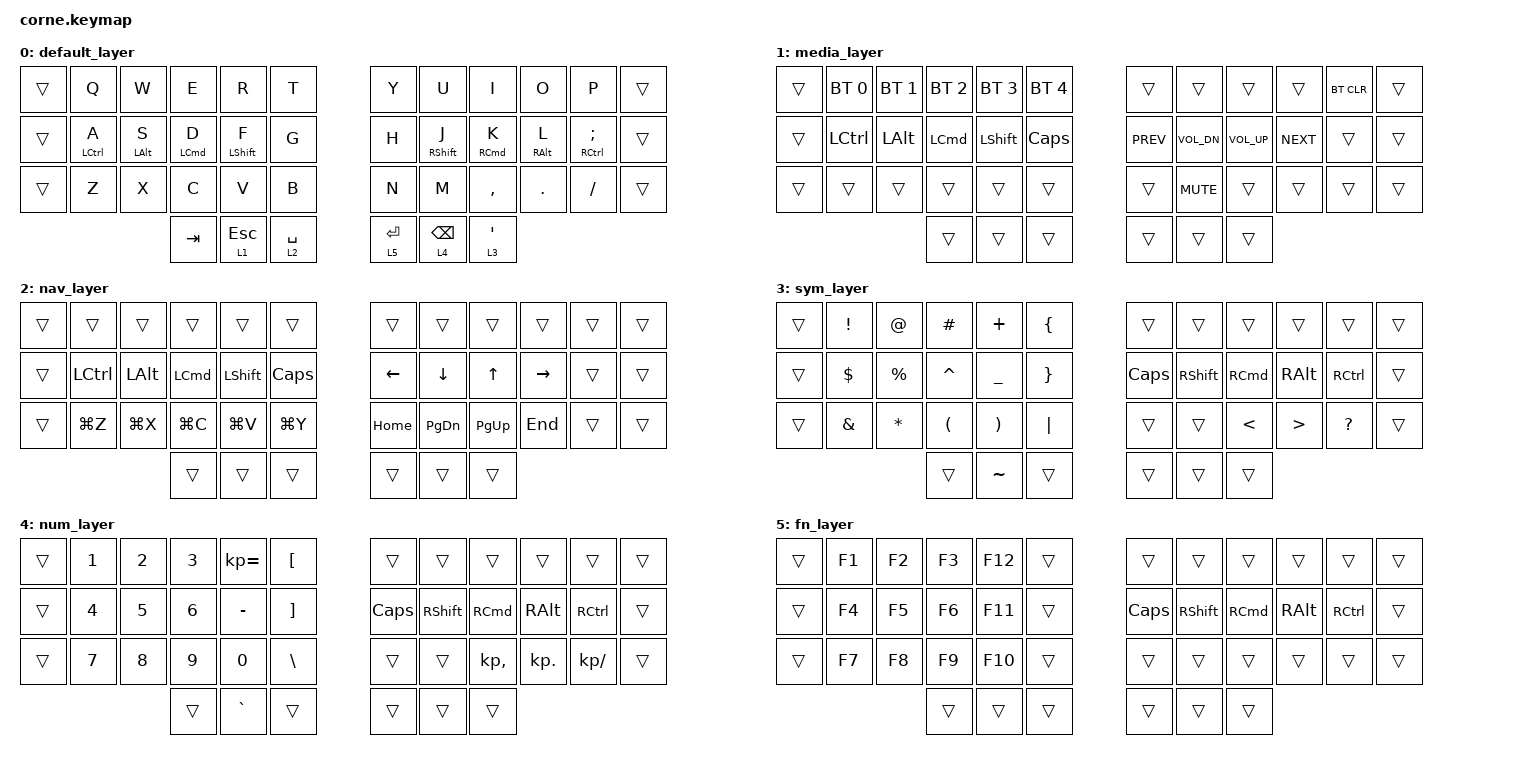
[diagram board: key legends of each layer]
/*
 * Copyright (c) 2020 The ZMK Contributors
 *
 * SPDX-License-Identifier: MIT
 */

#include <behaviors.dtsi>
#include <dt-bindings/zmk/keys.h>
#include <dt-bindings/zmk/bt.h>

#define DEFAULT 0
#define MEDIA 1
#define NAV 2
#define SYM 3
#define NUM 4
#define FN 5

&mt {
        tapping-term-ms = <250>;
};

/ {
        keymap {
                compatible = "zmk,keymap";
                default_layer {
// ---------------------------------------------------------------------------------------------------------------------
//  |  Q  |  W  |  E  |  R  |  T  |   |  Y  |  U  |  I  |  O  |  P  |
//  |  A  |  S  |  D  |  F  |  G  |   |  H  |  J  |  K  |  L  |  ;  |
//  |  Z  |  X  |  C  |  V  |  B  |   |  N  |  M  |  ,  |  .  |  /  |
//              | TAB | ESC |SPACE|   |ENTER| DEL |  '  |
//              |     |MEDIA| NAV |   | Fn  | NUM | SYM |
                        bindings = <
&trans  &kp Q        &kp W       &kp E       &kp R         &kp T        &kp Y         &kp U         &kp I       &kp O       &kp P                &trans
&trans  &mt LCTRL A  &mt LALT S  &mt LCMD D  &mt LSHIFT F  &kp G        &kp H         &mt RSHIFT J  &mt RCMD K  &mt RALT L  &mt RCTRL SEMICOLON  &trans
&trans  &kp Z        &kp X       &kp C       &kp V         &kp B        &kp N         &kp M         &kp COMMA   &kp DOT     &kp FSLH             &trans
                                 &kp TAB     &lt 1 ESC     &lt 2 SPACE  &lt 5 RETURN  &lt 4 BSPC    &lt 3 SQT
                        >;
                };

                media_layer {
// ---------------------------------------------------------------------------------------------------------------------
// |BT 0 |BT 1  |BT 2 |BT 3 |BT 4 |   |     |     |     |     |BTCLR|
// |CTRL^|OPTION| CMD |SHIFT|CAPSL|   | PREV|VDOWN|VOLUP| NEXT|     |
// |     |      |     |     |     |   |     | MUTE|     |     |     |
//              |     |     |     |   |     |     |     |

                        bindings = <
&trans  &bt BT_SEL 0 &bt BT_SEL 1 &bt BT_SEL 2 &bt BT_SEL 3 &bt BT_SEL 4  &trans      &trans        &trans        &trans      &bt BT_CLR  &trans
&trans  &kp LCTRL    &kp LALT     &kp LCMD     &kp LSHIFT   &kp CAPS      &kp C_PREV  &kp C_VOL_DN  &kp C_VOL_UP  &kp C_NEXT  &trans      &trans
&trans  &trans       &trans       &trans       &trans       &trans        &trans      &kp C_MUTE    &trans        &trans      &trans      &trans
                                  &trans       &trans       &trans        &trans      &trans        &trans
                        >;
                };

                nav_layer {
// ---------------------------------------------------------------------------------------------------------------------
// |      |      |     |     |     |   |     |     |     |     |     |
// |CTRL^ |OPTION| CMD |SHIFT|CAPSL|   | LEFT| DOWN|   UP|RIGHT|     |
// |  UNDO|   CUT| COPY|PASTE| REDO|   | HOME|PGDWN| PGUP|  END|     |
//               | NAV |     |     |   |     |     |     |
                        bindings = <
&trans  &trans     &trans     &trans     &trans      &trans        &trans    &trans     &trans     &trans     &trans  &trans
&trans  &kp LCTRL  &kp LALT   &kp LCMD   &kp LSHIFT  &kp CAPS      &kp LEFT  &kp DOWN   &kp UP     &kp RIGHT  &trans  &trans
&trans  &kp LG(Z)  &kp LG(X)  &kp LG(C)  &kp LG(V)   &kp LG(Y)     &kp HOME  &kp PG_DN  &kp PG_UP  &kp END    &trans  &trans
                              &trans     &trans      &trans        &trans    &trans     &trans
                        >;
                };

                sym_layer {
// ---------------------------------------------------------------------------------------------------------------------
// |  !  |  @  |  #  |  +  |  {  |   |     |     |     |     |     |
// |  $  |  %  |  ^  |  _  |  }  |   | CAPS|SHIFT| CMD | OPT |CTRL^|
// |  &  |  *  |  (  |  )  |  |  |   |     |     |  <  |  >  |  ?  |
//             |     |  ~  |     |   |     |     |     |

                        bindings = <
&trans  &kp EXCL    &kp AT_SIGN  &kp POUND  &kp PLUS   &kp LBRC   &trans    &trans     &trans     &trans    &trans     &trans
&trans  &kp DOLLAR  &kp PERCENT  &kp CARET  &kp UNDER  &kp RBRC   &kp CAPS  &kp RSHIFT &kp RCMD   &kp RALT  &kp RCTRL  &trans
&trans  &kp AMPS    &kp ASTRK    &kp LPAR   &kp RPAR   &kp PIPE   &trans    &trans     &kp LT     &kp GT    &kp QMARK  &trans
                                 &trans     &kp TILDE  &trans     &trans    &trans     &trans
                        >;
                };

                num_layer {
// ---------------------------------------------------------------------------------------------------------------------
// |  1  |  2  |  3  |  =  |  [  |   |     |     |     |     |     |
// |  4  |  5  |  6  |  -  |  ]  |   | CAPS|SHIFT| CMD | OPT |CTRL^|
// |  7  |  8  |  9  |  0  |  \  |   |     |     |  ,  |  .  |  /  |
//             |     |  `  |     |   |     |     |     |

                        bindings = <
&trans  &kp N1  &kp N2  &kp N3  &kp KP_EQUAL &kp LBKT     &trans    &trans     &trans       &trans     &trans       &trans
&trans  &kp N4  &kp N5  &kp N6  &kp MINUS    &kp RBKT     &kp CAPS  &kp RSHIFT &kp RCMD     &kp RALT   &kp RCTRL    &trans
&trans  &kp N7  &kp N8  &kp N9  &kp N0       &kp BSLH     &trans    &trans     &kp KP_COMMA &kp KP_DOT &kp KP_SLASH &trans
                        &trans  &kp GRAVE    &trans       &trans    &trans     &trans
                        >;
                };

                fn_layer {
// ---------------------------------------------------------------------------------------------------------------------
// | F1  | F2  | F3  | F12 |     |   |     |     |     |     |     |
// | F4  | F5  | F6  | F11 |     |   | CAPS|SHIFT| CMD | OPT |CTRL^|
// | F7  | F8  | F9  | F10 |     |   |     |     |     |     |     |
//             |     |     |     |   |     |     |     |

                        bindings = <
&trans  &kp F1  &kp F2  &kp F3  &kp F12  &trans     &trans    &trans     &trans    &trans    &trans     &trans
&trans  &kp F4  &kp F5  &kp F6  &kp F11  &trans     &kp CAPS  &kp RSHIFT &kp RCMD  &kp RALT  &kp RCTRL  &trans
&trans  &kp F7  &kp F8  &kp F9  &kp F10  &trans     &trans    &trans     &trans    &trans    &trans     &trans
                        &trans  &trans   &trans     &trans    &trans     &trans
                        >;
                };
        };
};
